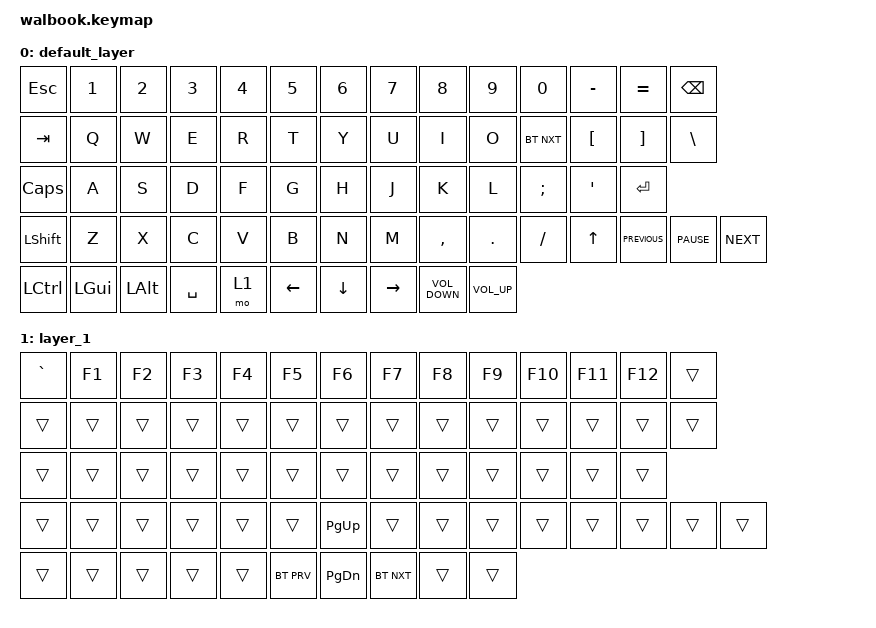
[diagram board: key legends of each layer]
#include <behaviors.dtsi>
#include <dt-bindings/zmk/bt.h>
#include <dt-bindings/zmk/keys.h>

/ {
    keymap {
        compatible = "zmk,keymap";

        default_layer {
            bindings = <
&kp ESC           &kp N1        &kp N2        &kp N3     &kp N4  &kp N5    &kp N6    &kp N7     &kp N8             &kp N9           &kp N0      &kp MINUS  &kp EQUAL       &kp BSPC
&kp TAB           &kp Q         &kp W         &kp E      &kp R   &kp T     &kp Y     &kp U      &kp I              &kp O            &bt BT_NXT  &kp LBKT   &kp RBKT        &kp BSLH
&kp CAPSLOCK      &kp A         &kp S         &kp D      &kp F   &kp G     &kp H     &kp J      &kp K              &kp L            &kp SEMI    &kp SQT    &kp RET
&kp LSHFT         &kp Z         &kp X         &kp C      &kp V   &kp B     &kp N     &kp M      &kp COMMA          &kp DOT          &kp FSLH    &kp UP     &kp C_PREVIOUS  &kp C_PAUSE  &kp C_NEXT
&kp LEFT_CONTROL  &kp LEFT_GUI  &kp LEFT_ALT  &kp SPACE  &mo 1   &kp LEFT  &kp DOWN  &kp RIGHT  &kp C_VOLUME_DOWN  &kp C_VOLUME_UP
            >;
        };

        layer_1 {
            bindings = <
&kp GRAVE  &kp F1  &kp F2  &kp F3  &kp F4  &kp F5      &kp F6     &kp F7      &kp F8  &kp F9  &kp F10  &kp F11  &kp F12  &trans
&trans     &trans  &trans  &trans  &trans  &trans      &trans     &trans      &trans  &trans  &trans   &trans   &trans   &trans
&trans     &trans  &trans  &trans  &trans  &trans      &trans     &trans      &trans  &trans  &trans   &trans   &trans
&trans     &trans  &trans  &trans  &trans  &trans      &kp PG_UP  &trans      &trans  &trans  &trans   &trans   &trans   &trans  &trans
&trans     &trans  &trans  &trans  &trans  &bt BT_PRV  &kp PG_DN  &bt BT_NXT  &trans  &trans
            >;
        };
    };
};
